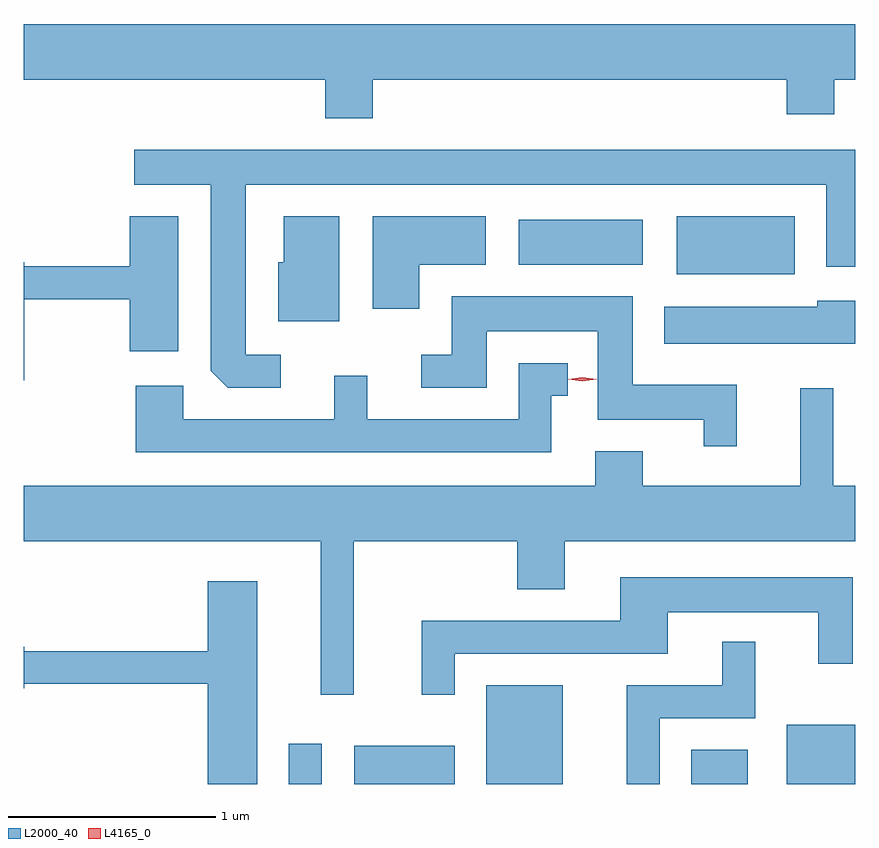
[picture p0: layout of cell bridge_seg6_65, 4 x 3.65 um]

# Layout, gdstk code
import gdstk
lib = gdstk.Library(unit=1e-6, precision=1e-09)
def R(c, l, rs):  # rectangles x0, y0, x1, y1
    for r in rs: c.add(gdstk.rectangle(r[:2], r[2:], *l))
def P(c, l, *ps):  # polygons
    for p in ps: c.add(gdstk.Polygon(p, *l))
L2000_40 = (2000, 40)
L4165_0 = (4165, 0)

bridge_seg6_65 = lib.new_cell('bridge_seg6_65')
R(bridge_seg6_65, L2000_40, [(1247.616,1637.67,1247.774,1637.863), (1247.931,1637.67,1248.414,1637.854), (1248.566,1637.67,1248.934,1638.144), (1249.551,1637.67,1249.824,1637.834), (1250.011,1637.67,1250.341,1637.954), (1249.481,1640.121,1250.049,1640.399), (1248.721,1640.166,1249.319,1640.384)])
P(bridge_seg6_65, L2000_40, [(1248.019,1641.056),(1250.011,1641.056),(1250.011,1640.891),(1250.239,1640.891),(1250.239,1641.056),(1250.341,1641.056),(1250.341,1641.324),(1246.341,1641.324),(1246.341,1641.056),(1247.791,1641.056),(1247.791,1640.871),(1248.019,1640.871)],
  [(1247.578,1639.734),(1247.409,1639.734),(1247.409,1640.551),(1250.201,1640.551),(1250.201,1640.156),(1250.341,1640.156),(1250.341,1640.719),(1246.873,1640.719),(1246.873,1640.551),(1247.241,1640.551),(1247.241,1639.657),(1247.322,1639.576),(1247.578,1639.576)],
  [(1247.859,1640.399),(1247.591,1640.399),(1247.591,1640.179),(1247.566,1640.179),(1247.566,1639.896),(1247.859,1639.896)],
  [(1246.344,1640.001),(1246.851,1640.001),(1246.851,1639.751),(1247.084,1639.751),(1247.084,1640.399),(1246.851,1640.399),(1246.851,1640.159),(1246.344,1640.159),(1246.344,1640.179),(1246.341,1640.179),(1246.341,1639.611),(1246.344,1639.611)],
  [(1248.244,1640.166),(1248.564,1640.166),(1248.564,1640.399),(1248.021,1640.399),(1248.021,1639.956),(1248.244,1639.956)],
  [(1249.769,1639.589),(1249.269,1639.589),(1249.269,1640.014),(1248.401,1640.014),(1248.401,1639.734),(1248.253,1639.734),(1248.253,1639.576),(1248.569,1639.576),(1248.569,1639.846),(1249.101,1639.846),(1249.101,1639.421),(1249.611,1639.421),(1249.611,1639.293),(1249.769,1639.293)],
  [(1250.341,1639.994),(1250.156,1639.994),(1250.156,1639.964),(1249.421,1639.964),(1249.421,1639.786),(1250.341,1639.786)],
  [(1248.879,1639.536),(1248.958,1639.536),(1248.958,1639.694),(1248.721,1639.694),(1248.721,1639.424),(1247.994,1639.424),(1247.994,1639.633),(1247.836,1639.633),(1247.836,1639.424),(1247.109,1639.424),(1247.109,1639.584),(1246.881,1639.584),(1246.881,1639.266),(1248.879,1639.266)],
  [(1247.929,1638.836),(1248.716,1638.836),(1248.716,1638.606),(1248.944,1638.606),(1248.944,1638.836),(1250.341,1638.836),(1250.341,1639.104),(1250.234,1639.104),(1250.234,1639.573),(1250.076,1639.573),(1250.076,1639.104),(1249.319,1639.104),(1249.319,1639.269),(1249.091,1639.269),(1249.091,1639.104),(1246.341,1639.104),(1246.341,1638.836),(1247.771,1638.836),(1247.771,1638.098),(1247.929,1638.098)],
  [(1248.414,1638.296),(1249.439,1638.296),(1249.439,1638.496),(1250.161,1638.496),(1250.161,1638.248),(1250.329,1638.248),(1250.329,1638.664),(1249.211,1638.664),(1249.211,1638.454),(1248.256,1638.454),(1248.256,1638.098),(1248.414,1638.098)],
  [(1247.464,1638.644),(1247.226,1638.644),(1247.226,1638.309),(1246.344,1638.309),(1246.344,1638.329),(1246.341,1638.329),(1246.341,1638.131),(1246.344,1638.131),(1246.344,1638.151),(1247.226,1638.151),(1247.226,1637.67),(1247.464,1637.67)],
  [(1249.399,1637.986),(1249.859,1637.986),(1249.859,1638.353),(1249.701,1638.353),(1249.701,1638.144),(1249.241,1638.144),(1249.241,1637.67),(1249.399,1637.67)])
P(bridge_seg6_65, L4165_0, [(1249.028,1639.606),(1248.959,1639.615),(1248.959,1639.616),(1248.959,1639.616),(1249.028,1639.626),(1249.098,1639.617),(1249.098,1639.616),(1249.098,1639.616)])

lib.write_gds('bridge_seg6_65.gds')
